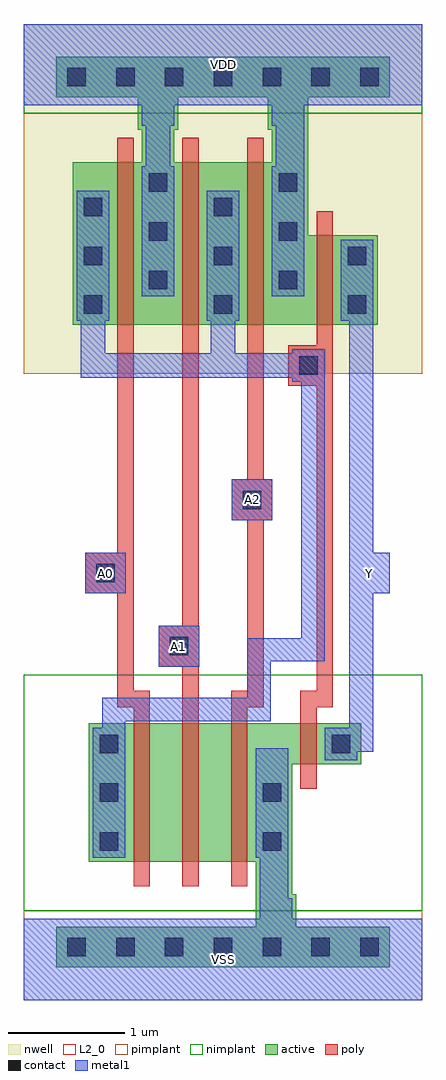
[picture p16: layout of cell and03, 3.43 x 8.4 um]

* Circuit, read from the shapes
.subckt and03 A0 A1 A2 VDD VSS Y
M1 n1 A0 n2 VSS nfet w=1.19u l=0.14u
M2 n3 A1 n1 VSS nfet w=1.19u l=0.14u
M3 VSS A2 n3 VSS nfet w=1.19u l=0.14u
M4 Y n2 VSS VSS nfet w=0.35u l=0.14u
M5 VDD A0 n2 VDD pfet w=1.4u l=0.14u
M6 n2 A1 VDD VDD pfet w=1.4u l=0.14u
M7 VDD A2 n2 VDD pfet w=1.4u l=0.14u
M8 Y n2 VDD VDD pfet w=0.77u l=0.14u
.ends

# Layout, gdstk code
import gdstk
lib = gdstk.Library(unit=1e-6, precision=1e-09)
def R(c, l, rs):  # rectangles x0, y0, x1, y1
    for r in rs: c.add(gdstk.rectangle(r[:2], r[2:], *l))
def A(c, l, x, y, w, h, nx, ny, dx, dy):  # array of equal rectangles
    R(c, l, [(x+i*dx, y+j*dy, x+i*dx+w, y+j*dy+h) for i in range(nx) for j in range(ny)])
def P(c, l, *ps):  # polygons
    for p in ps: c.add(gdstk.Polygon(p, *l))
L2_0 = (2, 0)
nwell = (3, 0)
active = (6, 0)
poly = (17, 0)
pimplant = (25, 0)
nimplant = (26, 0)
contact = (30, 0)
metal1 = (31, 0)

adk_poly_m1 = lib.new_cell('ADK_poly_m1')
R(adk_poly_m1, poly, [(-0.175,-0.175,0.175,0.175)])
R(adk_poly_m1, contact, [(-0.08,-0.08,0.08,0.08)])
R(adk_poly_m1, metal1, [(-0.175,-0.175,0.175,0.175)])

and03 = lib.new_cell('and03')
R(and03, L2_0, [(0,0,3.43,2.8)])
R(and03, nwell, [(0,5.39,3.43,8.4)])
P(and03, nwell, [(0,5.39),(3.43,5.39),(3.43,7),(2.87,7),(2.87,7.63),(0,7.63)])
R(and03, active, [(0.28,0.28,3.15,0.63), (1.995,0.63,2.345,0.91), (1.995,0.91,2.31,1.19), (0.56,1.19,0.945,2.38), (2.52,2.03,2.905,2.38), (0.42,5.81,0.805,7.21), (2.66,5.81,3.045,6.58), (1.015,7.21,1.295,7.49), (2.135,7.21,2.45,7.49), (0.98,7.49,1.33,7.77), (2.1,7.49,2.45,7.77), (0.28,7.77,3.15,8.12)])
P(and03, active, [(3.045,5.81),(3.045,6.58),(2.45,6.58),(2.45,7.21),(0.42,7.21),(0.42,5.81)],
  [(2.31,1.19),(2.31,2.03),(2.905,2.03),(2.905,2.38),(0.56,2.38),(0.56,1.19)])
A(and03, poly, 0.945, 0.98, 0.14, 0.21, 3, 2, 0.42, 1.4)
A(and03, poly, 0.945, 1.19, 0.14, 1.19, 3, 1, 0.42, 0)
A(and03, poly, 0.805, 5.6, 0.14, 0.21, 3, 2, 0.56, 1.61)
A(and03, poly, 0.805, 5.81, 0.14, 1.4, 3, 1, 0.56, 0)
R(and03, poly, [(2.38,1.82,2.52,2.03), (2.38,2.03,2.52,2.38), (2.38,2.38,2.52,2.59), (1.365,2.415,1.505,5.775), (2.275,5.285,2.625,5.635), (2.52,5.6,2.66,5.81), (2.52,5.81,2.66,6.58), (2.52,6.58,2.66,6.79)])
P(and03, poly, [(0.805,2.52),(0.945,2.52),(0.945,2.415),(1.085,2.415),(1.085,2.66),(0.945,2.66),(0.945,5.775),(0.805,5.775)],
  [(2.38,2.415),(2.52,2.415),(2.52,2.52),(2.66,2.52),(2.66,5.775),(2.52,5.775),(2.52,2.66),(2.38,2.66)],
  [(1.785,2.415),(1.925,2.415),(1.925,2.52),(2.065,2.52),(2.065,5.775),(1.925,5.775),(1.925,2.66),(1.785,2.66)])
R(and03, pimplant, [(0,0,3.43,0.77), (0,5.39,3.43,7.63)])
R(and03, nimplant, [(0,0.77,3.43,2.8), (0,7.63,3.43,8.4)])
A(and03, contact, 0.375, 0.375, 0.16, 0.16, 7, 2, 0.42, 7.49)
A(and03, contact, 0.655, 1.285, 0.16, 0.16, 1, 3, 0, 0.42)
A(and03, contact, 0.515, 5.905, 0.16, 0.16, 1, 3, 0, 0.42)
A(and03, contact, 1.635, 5.905, 0.16, 0.16, 1, 3, 0, 0.42)
A(and03, contact, 1.075, 6.115, 0.16, 0.16, 1, 3, 0, 0.42)
A(and03, contact, 2.195, 6.115, 0.16, 0.16, 1, 3, 0, 0.42)
R(and03, contact, [(2.055,1.285,2.215,1.445), (2.055,1.705,2.215,1.865), (2.65,2.125,2.81,2.285), (2.37,5.38,2.53,5.54), (2.79,5.905,2.95,6.065), (2.79,6.325,2.95,6.485)])
R(and03, metal1, [(0,0,3.43,0.7), (2.03,0.7,2.31,0.875), (2.03,0.875,2.275,1.225), (0.595,1.225,0.875,2.345), (1.995,1.225,2.275,2.165), (2.59,2.065,2.87,2.345), (2.8,2.135,3.01,5.845), (1.16,2.87,1.51,3.22), (0.53,3.5,0.88,3.85), (2.8,3.5,3.15,3.85), (1.79,4.13,2.14,4.48), (2.31,5.32,2.59,5.6), (0.49,5.355,0.7,5.845), (0.7,5.355,2.31,5.565), (1.61,5.565,1.82,5.845), (0.455,5.845,0.735,6.965), (1.575,5.845,1.855,6.965), (2.73,5.845,3.01,6.545), (1.015,6.055,1.295,7.175), (2.135,6.055,2.415,7.175), (1.05,7.175,1.26,7.525), (2.17,7.175,2.415,7.525), (1.015,7.525,1.295,7.7), (2.135,7.525,2.415,7.7), (0,7.7,3.43,8.4)])
P(and03, metal1, [(0.675,2.145),(0.875,2.145),(0.875,2.4),(2.125,2.4),(2.125,2.915),(2.59,2.915),(2.59,5.52),(2.39,5.52),(2.39,3.115),(1.925,3.115),(1.925,2.6),(0.675,2.6)])
and03.add(gdstk.Reference(adk_poly_m1, (0.705,3.675)))
and03.add(gdstk.Reference(adk_poly_m1, (1.335,3.045)))
and03.add(gdstk.Reference(adk_poly_m1, (1.965,4.305)))
and03.add(gdstk.Label('VDD', (1.715,8.05), layer=131, texttype=0))
and03.add(gdstk.Label('A0', (0.705,3.675), layer=131, texttype=0))
and03.add(gdstk.Label('A1', (1.335,3.045), layer=131, texttype=0))
and03.add(gdstk.Label('Y', (2.975,3.675), layer=131, texttype=0))
and03.add(gdstk.Label('VSS', (1.715,0.35), layer=131, texttype=0))
and03.add(gdstk.Label('A2', (1.965,4.305), layer=131, texttype=0))

lib.write_gds('and03.gds')
